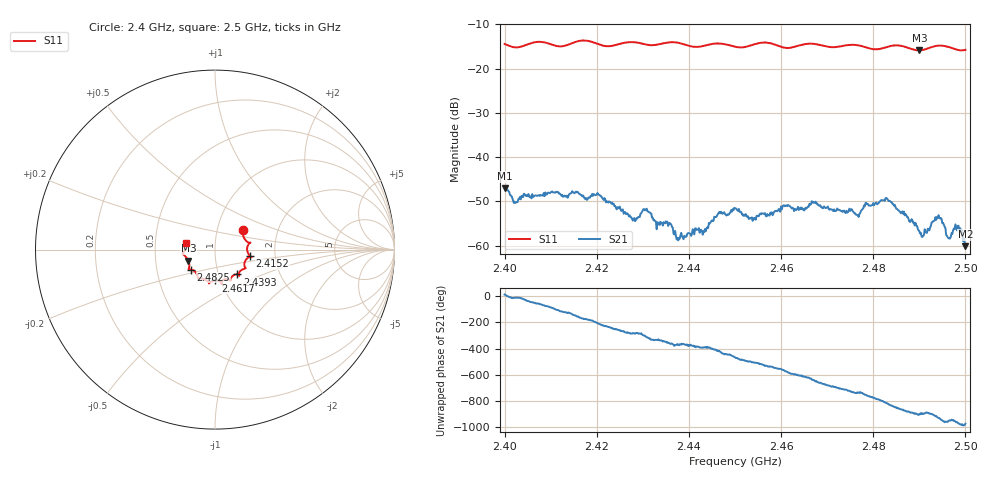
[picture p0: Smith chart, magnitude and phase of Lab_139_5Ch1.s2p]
# Hz S RI R 50
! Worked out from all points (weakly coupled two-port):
!   601 points, 2.4 GHz to 2.5 GHz, reference 50 ohm
!   highest |S21| = -47.00 dB at 2.4 GHz (marker M1); lowest = -60.1 dB at 2.5 GHz (marker M2)
!   lowest |S11| = -15.9 dB at 2.49 GHz (marker M3), VSWR 1.38, Z = 36.8 - j4.69 ohm
!   |S11| at or under -10 dB: start of sweep to end of sweep
!   S12 and S22 are empty: the file has one direction only
!   S11 on the Smith chart (normalised r, x): 2.4 GHz: 1.33, +0.30; 2.4152 GHz: 1.48, -0.11; 2.4393 GHz: 1.23, -0.35; 2.4617 GHz: 0.94, -0.33; 2.4825 GHz: 0.75, -0.17; 2.5 GHz: 0.72, +0.05
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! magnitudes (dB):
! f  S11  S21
! 2.4 GHz  -14.4  -47.0
! 2.4023 GHz  -15.2  -50.3
! 2.4152 GHz  -14.0  -48.1
! 2.4167 GHz  -13.6  -48.6
! 2.4205 GHz  -14.5  -48.5
! 2.428 GHz  -14.0  -54.0
! 2.4307 GHz  -14.5  -51.8
! 2.4333 GHz  -14.5  -55.2
! 2.4393 GHz  -14.6  -58.0
! 2.45 GHz  -15.0  -51.5
! 2.454 GHz  -14.5  -53.8
! 2.4617 GHz  -15.3  -50.9
! 2.4667 GHz  -14.3  -50.0
! 2.4767 GHz  -14.7  -53.1
! 2.4825 GHz  -15.2  -49.9
! 2.4833 GHz  -15.0  -49.9
! 2.49 GHz  -15.9  -56.7
! 2.491 GHz  -15.7  -57.6
! 2.4943 GHz  -14.8  -53.7
! 2.4963 GHz  -15.1  -58.3
! 2.4983 GHz  -15.8  -55.5
! 2.5 GHz  -15.7  -60.1
